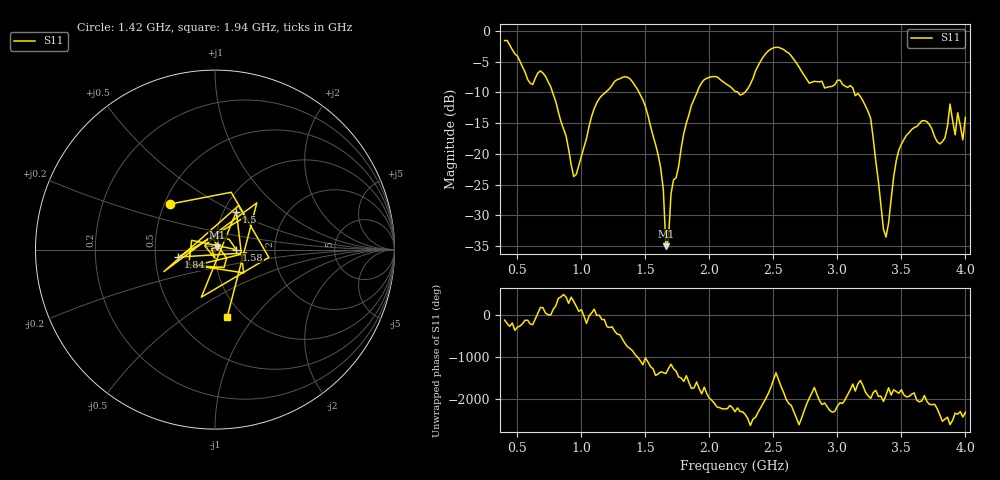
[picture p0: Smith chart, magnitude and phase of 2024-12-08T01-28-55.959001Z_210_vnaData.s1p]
!Created with skrf (http://scikit-rf.org).
# Hz S RI R 50.0
!freq ReS11 ImS11
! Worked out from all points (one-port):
!   181 points, 400 MHz to 4 GHz, reference 50 ohm
!   lowest |S11| = -35.0 dB at 1.66 GHz (marker M1), VSWR 1.04, Z = 51.3 + j1.25 ohm
!   |S11| at or under -10 dB: 774.9 MHz to 1.188 GHz (413.1 MHz wide, 42.1 % of centre); 1.451 GHz to 1.903 GHz (452.8 MHz wide, 27 % of centre); 3.132 GHz to end of sweep (the widest 3 of 4)
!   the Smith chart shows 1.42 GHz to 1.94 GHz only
!   S11 on the Smith chart (normalised r, x): 1.42 GHz: 0.53, +0.31; 1.5 GHz: 1.15, +0.51; 1.58 GHz: 1.27, -0.00; 1.84 GHz: 0.66, -0.06; 1.94 GHz: 0.85, -0.74
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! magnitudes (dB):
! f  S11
! 400 MHz  -1.6
! 600 MHz  -8.5
! 720 MHz  -7.4
! 860 MHz  -15.9
! 940 MHz  -23.7
! 1.12 GHz  -11.7
! 1.3 GHz  -7.8
! 1.42 GHz  -8.9
! 1.5 GHz  -12.3
! 1.58 GHz  -18.5
! 1.64 GHz  -25.8
! 1.66 GHz  -35.0
! 1.7 GHz  -26.6
! 1.76 GHz  -22.0
! 1.84 GHz  -13.7
! 1.94 GHz  -8.4
! 2.2 GHz  -9.8
! 2.48 GHz  -2.9
! 2.66 GHz  -4.6
! 3.1 GHz  -8.9
! 3.26 GHz  -14.2
! 3.38 GHz  -33.6
! 3.46 GHz  -21.1
! 3.56 GHz  -16.6
! 3.8 GHz  -18.4
! 3.88 GHz  -11.9
! 3.98 GHz  -17.7
! 4 GHz  -14.1
